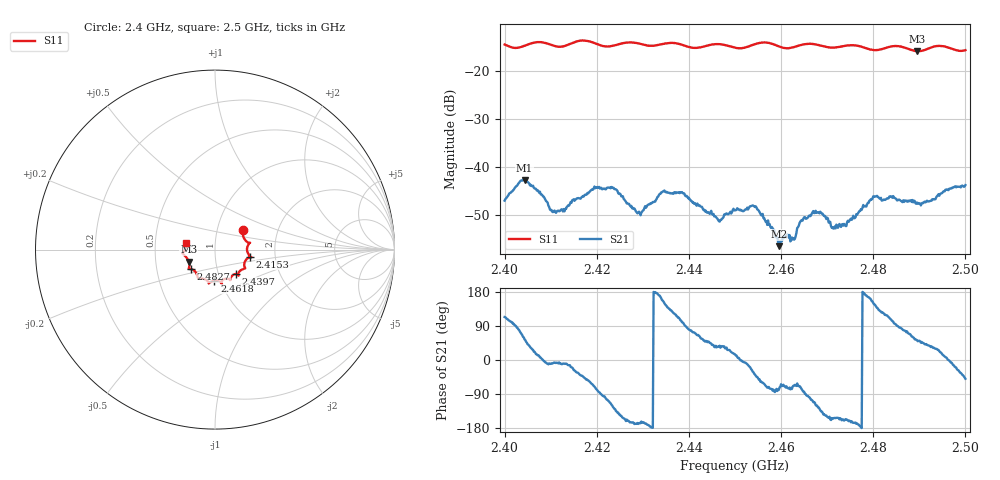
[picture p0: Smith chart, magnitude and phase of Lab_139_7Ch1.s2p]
# Hz S RI R 50
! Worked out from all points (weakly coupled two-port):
!   601 points, 2.4 GHz to 2.5 GHz, reference 50 ohm
!   highest |S21| = -42.73 dB at 2.4043 GHz (marker M1); lowest = -56.5 dB at 2.4595 GHz (marker M2)
!   lowest |S11| = -15.9 dB at 2.4895 GHz (marker M3), VSWR 1.38, Z = 37 - j5.03 ohm
!   |S11| at or under -10 dB: start of sweep to end of sweep
!   S12 and S22 are empty: the file has one direction only
!   S11 on the Smith chart (normalised r, x): 2.4 GHz: 1.33, +0.29; 2.4153 GHz: 1.48, -0.12; 2.4397 GHz: 1.21, -0.34; 2.4618 GHz: 0.94, -0.33; 2.4827 GHz: 0.75, -0.17; 2.5 GHz: 0.72, +0.06
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2.4e9  0.1551 0.1067  -0.00176 0.00407  0 0  0 0
2.404333e9  0.1772 0.044  0.00426 0.00593  0 0  0 0
2.410667e9  0.1817 0.0192  0.0034 -0.000428  0 0  0 0
2.415333e9  0.1967 -0.039  0.00397 -0.00221  0 0  0 0
2.416667e9  0.2025 -0.0431  0.00361 -0.00317  0 0  0 0
2.423667e9  0.1628 -0.0844  -0.00355 -0.00487  0 0  0 0
2.429167e9  0.1606 -0.1069  -0.00331 -0.000787  0 0  0 0
2.433333e9  0.1297 -0.134  -0.00485 0.000629  0 0  0 0
2.439667e9  0.1168 -0.1361  0.000487 0.00486  0 0  0 0
2.4465e9  0.0847 -0.1704  0.00223 0.00155  0 0  0 0
2.45e9  0.0652 -0.162  0.00343 0.000911  0 0  0 0
2.454333e9  0.0355 -0.1866  0.00298 -0.00237  0 0  0 0
2.4595e9  0.0263 -0.1782  0.000281 -0.00146  0 0  0 0
2.461833e9  -0.00319 -0.1728  0.000573 -0.00186  0 0  0 0
2.466667e9  -0.0348 -0.1881  -0.000853 -0.00314  0 0  0 0
2.469e9  -0.0399 -0.1768  -0.00244 -0.00214  0 0  0 0
2.471333e9  -0.0622 -0.1631  -0.00203 -0.00101  0 0  0 0
2.480333e9  -0.1124 -0.1199  -0.00405 0.0027  0 0  0 0
2.482667e9  -0.1349 -0.1088  -0.00221 0.00396  0 0  0 0
2.483333e9  -0.1399 -0.1084  -0.00186 0.00431  0 0  0 0
2.4895e9  -0.1459 -0.0663  0.00258 0.00336  0 0  0 0
2.5e9  -0.1597 0.0389  0.00419 -0.00489  0 0  0 0
